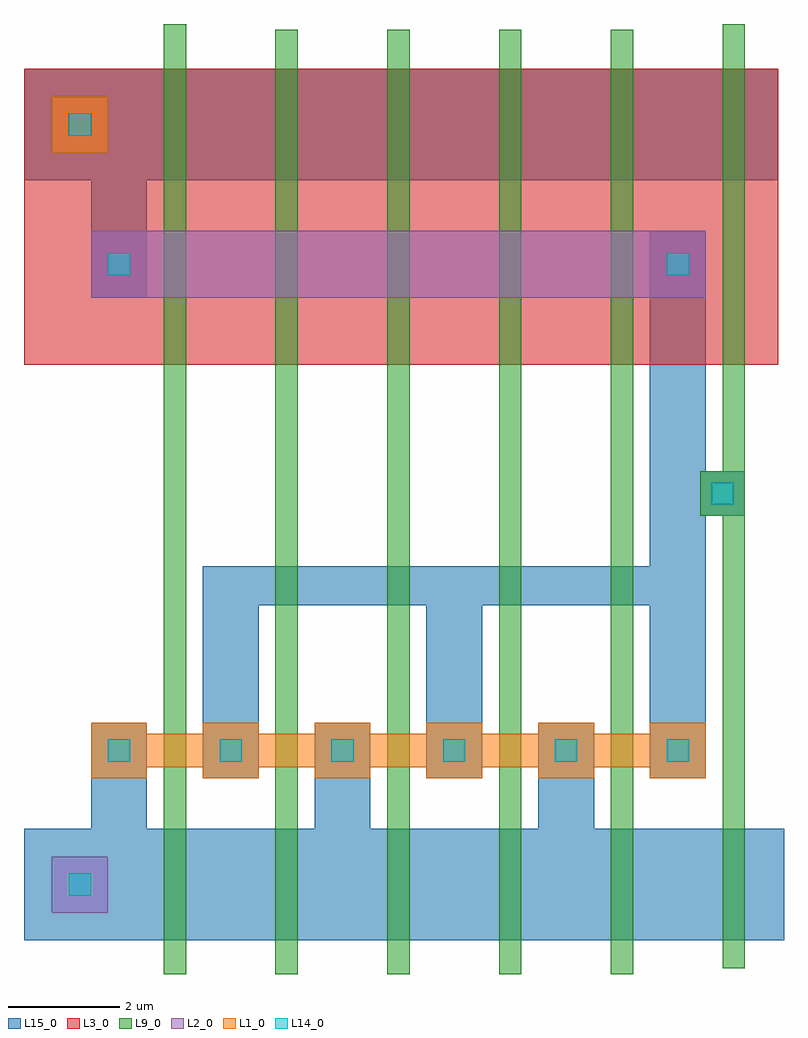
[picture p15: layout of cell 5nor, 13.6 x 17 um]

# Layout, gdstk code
import gdstk
lib = gdstk.Library(unit=1e-6, precision=1e-09)
def R(c, l, rs):  # rectangles x0, y0, x1, y1
    for r in rs: c.add(gdstk.rectangle(r[:2], r[2:], *l))
def A(c, l, x, y, w, h, nx, ny, dx, dy):  # array of equal rectangles
    R(c, l, [(x+i*dx, y+j*dy, x+i*dx+w, y+j*dy+h) for i in range(nx) for j in range(ny)])
def P(c, l, *ps):  # polygons
    for p in ps: c.add(gdstk.Polygon(p, *l))
L1_0 = (1, 0)
L2_0 = (2, 0)
L3_0 = (3, 0)
L9_0 = (9, 0)
L14_0 = (14, 0)
L15_0 = (15, 0)

c_5nor = lib.new_cell('5nor')
R(c_5nor, L1_0, [(-6.8,19.6,-5.8,20.6)])
P(c_5nor, L1_0, [(-6.1,9.4),(-6.1,8.4),(-5.1,8.4),(-5.1,8.6),(-4.1,8.6),(-4.1,8.4),(-3.1,8.4),(-3.1,8.6),(-2.1,8.6),(-2.1,8.4),(-1.1,8.4),(-1.1,8.6),(-0.1,8.6),(-0.1,8.4),(0.9,8.4),(0.9,8.6),(1.9,8.6),(1.9,8.4),(2.9,8.4),(2.9,8.6),(3.9,8.6),(3.9,8.4),(4.9,8.4),(4.9,9.4),(3.9,9.4),(3.9,9.2),(2.9,9.2),(2.9,9.4),(1.9,9.4),(1.9,9.2),(0.9,9.2),(0.9,9.4),(-0.1,9.4),(-0.1,9.2),(-1.1,9.2),(-1.1,9.4),(-2.1,9.4),(-2.1,9.2),(-3.1,9.2),(-3.1,9.4),(-4.1,9.4),(-4.1,9.2),(-5.1,9.2),(-5.1,9.4)])
R(c_5nor, L2_0, [(-6.8,6,-5.8,7), (-6.1,17,4.9,18.2)])
R(c_5nor, L3_0, [(-7.3,15.8,6.2,21.1)])
A(c_5nor, L9_0, -2.8, 4.9, 0.4, 16.9, 4, 1, 2, 0)
R(c_5nor, L9_0, [(-4.8,4.9,-4.4,21.9)])
P(c_5nor, L9_0, [(5.6,21.9),(5.2,21.9),(5.2,13.9),(4.8,13.9),(4.8,13.1),(5.2,13.1),(5.2,5),(5.6,5)])
A(c_5nor, L14_0, -5.8, 8.7, 0.4, 0.4, 6, 1, 2, 0)
R(c_5nor, L14_0, [(-6.5,6.3,-6.1,6.7), (5,13.3,5.4,13.7), (-5.8,17.4,-5.4,17.8), (4.2,17.4,4.6,17.8), (-6.5,19.9,-6.1,20.3)])
P(c_5nor, L15_0, [(2.9,7.5),(2.9,9.4),(1.9,9.4),(1.9,7.5),(-1.1,7.5),(-1.1,9.4),(-2.1,9.4),(-2.1,7.5),(-5.1,7.5),(-5.1,9.4),(-6.1,9.4),(-6.1,7.5),(-7.3,7.5),(-7.3,5.5),(6.3,5.5),(6.3,7.5)],
  [(4.9,8.4),(4.9,13.1),(5.6,13.1),(5.6,13.9),(4.9,13.9),(4.9,18.2),(3.9,18.2),(3.9,12.2),(-4.1,12.2),(-4.1,8.4),(-3.1,8.4),(-3.1,11.5),(-0.1,11.5),(-0.1,8.4),(0.9,8.4),(0.9,11.5),(3.9,11.5),(3.9,8.4)],
  [(-5.1,19.1),(6.2,19.1),(6.2,21.1),(-7.3,21.1),(-7.3,19.1),(-6.1,19.1),(-6.1,17),(-5.1,17)])

lib.write_gds('5nor.gds')
